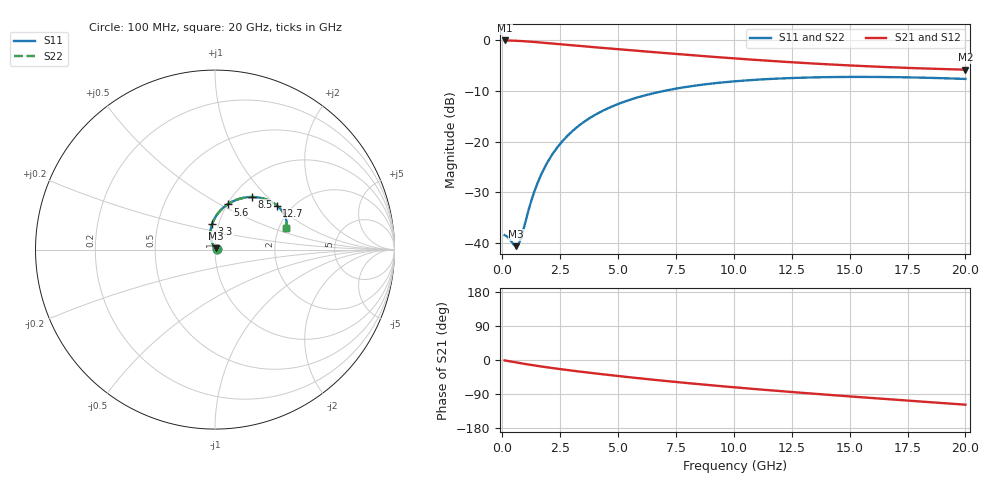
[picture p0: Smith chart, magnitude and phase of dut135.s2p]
! Created with skrf 1.9.0 (http://scikit-rf.org).
# GHz S RI R 50.0
!freq ReS11 ImS11 ReS21 ImS21 ReS12 ImS12 ReS22 ImS22
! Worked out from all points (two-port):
!   200 points, 100 MHz to 20 GHz, reference 50 ohm
!   highest |S21| = -0.11 dB at 100 MHz (marker M1); lowest = -5.9 dB at 20 GHz (marker M2)
!   |S21| within 3 dB of the highest: start of sweep to 8.47 GHz
!   lowest |S11| = -40.6 dB at 600 MHz (marker M3), VSWR 1.02, Z = 50.6 + j0.696 ohm
!   |S11| at or under -10 dB: start of sweep to 7.026 GHz
!   |S22| runs from -40.6 to -7.3 dB; largest |S21 - S12| = 3.5e-15
!   S11 on the Smith chart (normalised r, x): 100 MHz: 1.02, +0.00; 3.3 GHz: 0.93, +0.27; 5.6 GHz: 1.00, +0.54; 8.5 GHz: 1.22, +0.82; 12.7 GHz: 1.68, +1.00; 20 GHz: 2.19, +0.62
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0.1  0.0119 0.00105  0.9875 -0.0191  0.9875 -0.0191  0.0119 0.00105
0.6  0.00633 0.00687  0.974 -0.1109  0.974 -0.1109  0.00633 0.00687
0.7  0.00437 0.0087  0.9693 -0.1284  0.9693 -0.1284  0.00437 0.0087
0.8  0.00223 0.0108  0.9641 -0.1455  0.9641 -0.1455  0.00223 0.0108
1.1  -0.0049 0.0192  0.9453 -0.1942  0.9453 -0.1942  -0.0049 0.0192
1.3  -0.00977 0.0265  0.9308 -0.2244  0.9308 -0.2244  -0.00977 0.0265
1.5  -0.0143 0.035  0.9151 -0.2527  0.9151 -0.2527  -0.0143 0.035
1.8  -0.0201 0.05  0.8901 -0.2918  0.8901 -0.2918  -0.0201 0.05
2.1  -0.0239 0.067  0.8639 -0.3272  0.8639 -0.3272  -0.0239 0.067
2.5  -0.0254 0.0915  0.8279 -0.3694  0.8279 -0.3694  -0.0254 0.0915
2.9  -0.0228 0.1168  0.7914 -0.4067  0.7914 -0.4067  -0.0228 0.1168
3.3  -0.0164 0.1419  0.7547 -0.4399  0.7547 -0.4399  -0.0164 0.1419
3.5  -0.0118 0.154  0.7364 -0.4551  0.7364 -0.4551  -0.0118 0.154
4.5  0.0212 0.2081  0.6449 -0.5192  0.6449 -0.5192  0.0212 0.2081
5.6  0.07 0.2518  0.5462 -0.5698  0.5462 -0.5698  0.07 0.2518
6.8  0.1285 0.2804  0.4428 -0.605  0.4428 -0.605  0.1285 0.2804
8.5  0.2077 0.2931  0.3084 -0.6266  0.3084 -0.6266  0.2077 0.2931
10.1  0.2709 0.284  0.1973 -0.6253  0.1973 -0.6253  0.2709 0.284
12.7  0.3447 0.2456  0.0476 -0.597  0.0476 -0.597  0.3447 0.2456
13.4  0.3586 0.2329  0.0129 -0.586  0.0129 -0.586  0.3586 0.2329
16.7  0.3956 0.1709  -0.1267 -0.5238  -0.1267 -0.5238  0.3956 0.1709
20  0.3956 0.1185  -0.2387 -0.4502  -0.2387 -0.4502  0.3956 0.1185
